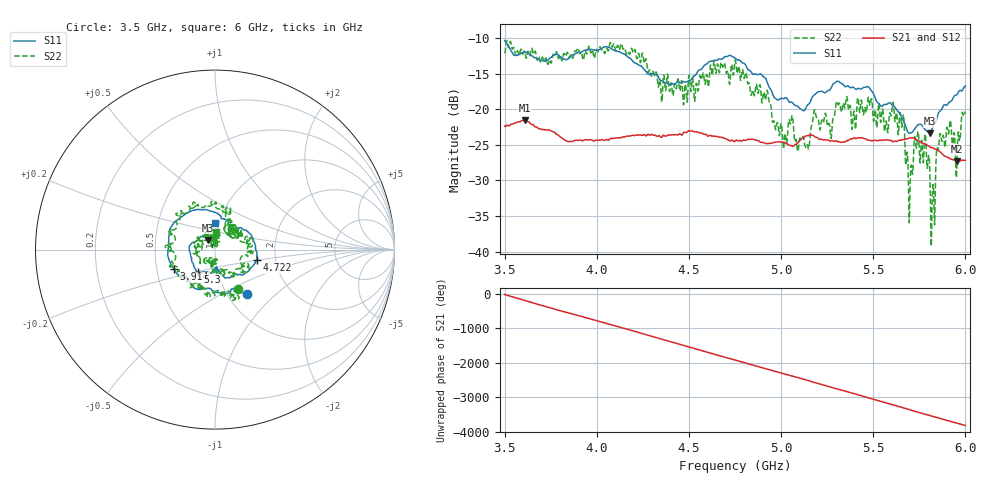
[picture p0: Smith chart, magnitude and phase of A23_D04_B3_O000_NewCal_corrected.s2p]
! Created with skrf 1.9.0 (http://scikit-rf.org).
# Hz S RI R 50.0
!freq ReS11 ImS11 ReS21 ImS21 ReS12 ImS12 ReS22 ImS22
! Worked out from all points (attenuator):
!   1601 points, 3.5 GHz to 6 GHz, reference 50 ohm
!   highest |S21| = -21.55 dB at 3.609 GHz (marker M1); lowest = -27.3 dB at 5.955 GHz (marker M2)
!   lowest |S11| = -23.3 dB at 5.806 GHz (marker M3), VSWR 1.15, Z = 45.7 + j4.93 ohm
!   |S11| at or under -10 dB: start of sweep to end of sweep
!   |S22| runs from -39.2 to -10.3 dB; largest |S21 - S12| = 0.00093
!   S11 on the Smith chart (normalised r, x): 3.5 GHz: 1.24, -0.67; 3.914 GHz: 0.62, -0.14; 4.722 GHz: 1.59, -0.19; 5.3 GHz: 0.80, -0.21; 6 GHz: 0.95, +0.28
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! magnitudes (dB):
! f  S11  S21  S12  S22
! 3.5 GHz  -10.3  -22.4  -22.3  -12.0
! 3.609 GHz  -11.9  -21.5  -21.5  -11.9
! 3.914 GHz  -12.0  -24.3  -24.3  -11.9
! 3.917 GHz  -11.9  -24.4  -24.3  -12.0
! 4.139 GHz  -12.1  -23.9  -23.9  -11.2
! 4.334 GHz  -15.5  -23.7  -23.6  -16.9
! 4.722 GHz  -12.4  -24.4  -24.4  -16.4
! 4.75 GHz  -12.8  -24.5  -24.4  -13.2
! 4.931 GHz  -16.7  -24.8  -24.7  -18.3
! 5.02 GHz  -18.4  -24.7  -24.6  -23.5
! 5.167 GHz  -18.4  -23.7  -23.6  -22.1
! 5.3 GHz  -16.1  -24.5  -24.4  -18.9
! 5.584 GHz  -19.1  -24.3  -24.3  -21.6
! 5.656 GHz  -21.2  -24.3  -24.2  -22.3
! 5.702 GHz  -23.3  -24.0  -24.0  -29.3
! 5.733 GHz  -22.4  -24.2  -24.2  -25.3
! 5.775 GHz  -22.6  -24.8  -24.7  -26.0
! 5.806 GHz  -23.3  -25.3  -25.2  -28.2
! 5.823 GHz  -22.4  -25.4  -25.3  -30.8
! 5.869 GHz  -20.1  -26.1  -26.1  -24.2
! 5.955 GHz  -17.9  -27.3  -27.2  -26.9
! 6 GHz  -16.7  -27.2  -27.1  -20.3
